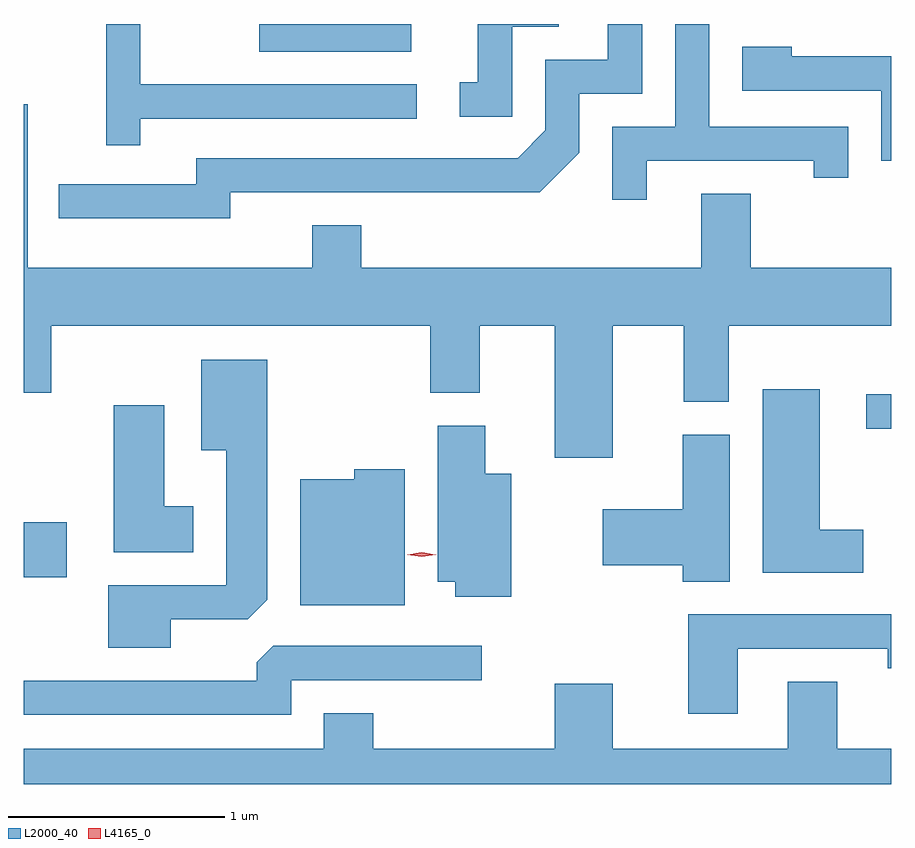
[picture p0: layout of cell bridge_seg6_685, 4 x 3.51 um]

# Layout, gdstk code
import gdstk
lib = gdstk.Library(unit=1e-6, precision=1e-09)
def R(c, l, rs):  # rectangles x0, y0, x1, y1
    for r in rs: c.add(gdstk.rectangle(r[:2], r[2:], *l))
def P(c, l, *ps):  # polygons
    for p in ps: c.add(gdstk.Polygon(p, *l))
L2000_40 = (2000, 40)
L4165_0 = (4165, 0)

bridge_seg6_685 = lib.new_cell('bridge_seg6_685')
R(bridge_seg6_685, L2000_40, [(212.627,1531.116,212.824,1531.369), (216.513,1531.801,216.627,1531.959), (213.713,1533.541,214.414,1533.668)])
P(bridge_seg6_685, L2000_40, [(213.579,1532.891),(215.007,1532.891),(215.189,1533.074),(215.189,1533.346),(215.479,1533.346),(215.479,1533.668),(215.321,1533.668),(215.321,1533.504),(215.031,1533.504),(215.031,1533.177),(214.904,1533.049),(213.421,1533.049),(213.421,1532.929),(212.788,1532.929),(212.788,1532.771),(213.579,1532.771)],
  [(215.499,1533.036),(216.271,1533.036),(216.271,1532.958),(216.429,1532.958),(216.429,1533.194),(215.789,1533.194),(215.789,1533.668),(215.631,1533.668),(215.631,1533.194),(215.341,1533.194),(215.341,1532.858),(215.499,1532.858)],
  [(214.879,1533.656),(215.094,1533.656),(215.094,1533.668),(214.721,1533.668),(214.721,1533.399),(214.638,1533.399),(214.638,1533.241),(214.879,1533.241)],
  [(213.164,1533.231),(214.438,1533.231),(214.438,1533.389),(213.164,1533.389),(213.164,1533.668),(213.006,1533.668),(213.006,1533.108),(213.164,1533.108)],
  [(216.627,1533.519),(216.169,1533.519),(216.169,1533.564),(215.941,1533.564),(215.941,1533.361),(216.581,1533.361),(216.581,1533.036),(216.627,1533.036)],
  [(215.344,1532.276),(215.671,1532.276),(215.671,1531.926),(215.879,1531.926),(215.879,1532.276),(216.627,1532.276),(216.627,1532.544),(215.979,1532.544),(215.979,1532.884),(215.751,1532.884),(215.751,1532.544),(214.184,1532.544),(214.184,1532.739),(213.956,1532.739),(213.956,1532.544),(212.644,1532.544),(212.644,1533.298),(212.627,1533.298),(212.627,1531.966),(212.754,1531.966),(212.754,1532.276),(214.501,1532.276),(214.501,1531.966),(214.729,1531.966),(214.729,1532.276),(215.076,1532.276),(215.076,1531.666),(215.344,1531.666)],
  [(213.304,1530.921),(213.659,1530.921),(213.749,1531.012),(213.749,1532.119),(213.446,1532.119),(213.446,1531.701),(213.561,1531.701),(213.561,1531.079),(213.016,1531.079),(213.016,1530.791),(213.304,1530.791)],
  [(216.499,1531.334),(216.299,1531.334),(216.299,1531.984),(216.036,1531.984),(216.036,1531.136),(216.499,1531.136)],
  [(213.409,1531.444),(213.274,1531.444),(213.274,1531.909),(213.041,1531.909),(213.041,1531.231),(213.409,1531.231)],
  [(214.874,1531.594),(214.754,1531.594),(214.754,1531.814),(214.536,1531.814),(214.536,1531.096),(214.616,1531.096),(214.616,1531.026),(214.874,1531.026)],
  [(215.884,1531.774),(215.666,1531.774),(215.666,1531.429),(215.296,1531.429),(215.296,1531.171),(215.666,1531.171),(215.666,1531.096),(215.884,1531.096)],
  [(214.384,1531.614),(214.151,1531.614),(214.151,1531.569),(213.901,1531.569),(213.901,1530.986),(214.384,1530.986)],
  [(215.919,1530.786),(216.611,1530.786),(216.611,1530.696),(216.627,1530.696),(216.627,1530.944),(215.691,1530.944),(215.691,1530.486),(215.919,1530.486)],
  [(213.859,1530.641),(214.738,1530.641),(214.738,1530.799),(213.777,1530.799),(213.701,1530.724),(213.701,1530.639),(212.627,1530.639),(212.627,1530.481),(213.859,1530.481)],
  [(216.627,1530.324),(216.379,1530.324),(216.379,1530.634),(216.151,1530.634),(216.151,1530.324),(215.344,1530.324),(215.344,1530.624),(215.076,1530.624),(215.076,1530.324),(214.239,1530.324),(214.239,1530.489),(214.011,1530.489),(214.011,1530.324),(212.627,1530.324),(212.627,1530.162),(216.627,1530.162)])
P(bridge_seg6_685, L4165_0, [(214.461,1531.21),(214.395,1531.219),(214.394,1531.22),(214.395,1531.22),(214.461,1531.23),(214.527,1531.22),(214.528,1531.22),(214.527,1531.219)])

lib.write_gds('bridge_seg6_685.gds')
